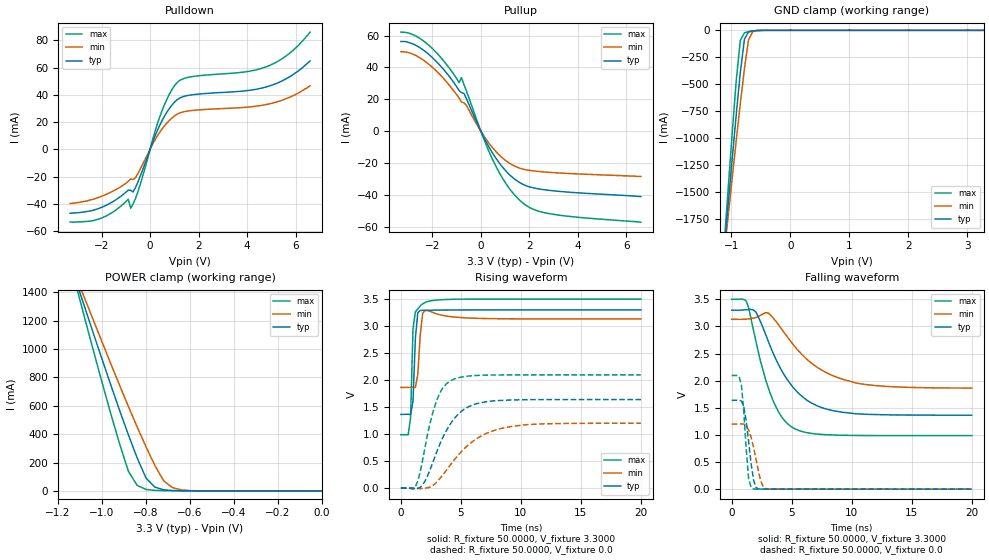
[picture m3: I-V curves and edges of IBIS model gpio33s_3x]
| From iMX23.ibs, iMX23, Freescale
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|   Model gpio33s_3x
[Model]  gpio33s_3x
Model_type I/O
Polarity   Non-Inverting
Enable   Active-Low
Vinl =   0.8000V
Vinh =   2.0000V
Vmeas =  1.6500V
Cref =   30.0000pF
Rref =   50.0000
Vref =   1.6500V
C_comp   3.0000pF   2.0000pF   4.0000pF
[Temperature Range]   50.0000   100.0000   0.0
[Voltage Range]   3.3000V   3.0000V   3.6000V
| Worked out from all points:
|   slope of the pulldown table from 0 to 0.495 V, typ, clamps not added: 23.5 ohm
|   slope of the pullup table from 0 to 0.495 V, typ, clamps not added: 35.3 ohm
|   GND clamp passes 1 mA (typ) near -0.53 V on its own axis
|   POWER clamp passes 1 mA (typ) near -0.63 V on its own axis
|   rising waveform, R_fixture 50.0000, V_fixture 3.3000: 20-80 % time 232ps typ, 222ps min, 213ps max; typ from 1.36 V to 3.3 V
|   rising waveform, R_fixture 50.0000, V_fixture 0.0: 20-80 % time 2.14ns typ, 3.19ns min, 1.37ns max; typ from 0 V to 1.64 V
|   falling waveform, R_fixture 50.0000, V_fixture 3.3000: 20-80 % time 2.94ns typ, 3.78ns min, 2ns max; typ from 3.3 V to 1.36 V
|   falling waveform, R_fixture 50.0000, V_fixture 0.0: 20-80 % time 546ps typ, 713ps min, 419ps max; typ from 1.64 V to 0 V
[Pulldown]
|Voltage   I(typ)   I(min)   I(max)
-3.3V     -46.9mA    -39.8mA    -53.4mA
-2V       -42.61mA   -34.49mA   -50.45mA
-900mV    -29.92mA   -23.5mA    -36.62mA
-800mV    -30.07mA   -21.7mA    -43.24mA
-700mV    -31.3mA    -22.2mA    -40.08mA
-600mV    -28.01mA   -20.92mA   -36.04mA
500mV     21.26mA    15.11mA    28.62mA
900mV     32.44mA    22.96mA    43.79mA
1.2V      37.44mA    26.52mA    50.31mA
4.8V      45.86mA    32.93mA    60.69mA
5.7V      52.68mA    37.83mA    69.77mA
6.6V      64.9mA     46.7mA     86.1mA
[Pullup]
|Voltage   I(typ)   I(min)   I(max)
-3.3V     56.3mA     49.9mA     62.2mA
-2.8V     54.74mA    48.34mA    60.6mA
-2.2V     48.9mA     42.68mA    54.62mA
-1.5V     38.07mA    32.46mA    43.47mA
-900mV    25.52mA    20.86mA    30.48mA
-800mV    24.2mA     18.28mA    33.63mA
-700mV    23.76mA    17.87mA    29.39mA
500mV     -14.14mA   -10.7mA    -18.3mA
1.1V      -26.08mA   -19.28mA   -34.38mA
1.7V      -33.08mA   -23.66mA   -44.66mA
2.9V      -37.27mA   -25.9mA    -51.94mA
6.6V      -41mA      -28.4mA    -57.1mA
[GND_clamp]
|Voltage   I(typ)   I(min)   I(max)
-3.3V     -16.05A    -13.81A    -19.4A
-1.13V    -2.072A    -2.112A    -2.035A
-1.06V    -1.636A    -1.745A    -1.497A
-990mV    -1.206A    -1.382A    -971.1mA
-920mV    -786.7mA   -1.025A    -470.7mA
-850mV    -390.5mA   -679.5mA   -92.21mA
-780mV    -81.38mA   -354.3mA   -23.04mA
-710mV    -14.58mA   -85.27mA   -12.47mA
-640mV    -4.818mA   -12.73mA   -6.689mA
-570mV    -1.703mA   -2.139mA   -2.771mA
3.28V     -344.8nA   4.18uA     -6.865uA
[POWER_clamp]
|Voltage   I(typ)   I(min)   I(max)
-3.28V    12.03A     10.28A     14.68A
-1.12V    1.489A     1.518A     1.459A
-1.08V    1.3A       1.361A     1.225A
-920mV    566.8mA    743.5mA    330.2mA
-880mV    394mA      594.3mA    137.8mA
-840mV    230.9mA    449.2mA    38.56mA
-800mV    90.47mA    310.1mA    10.5mA
-760mV    26.97mA    179.7mA    3.981mA
-720mV    7.883mA    71.6mA     2.263mA
-680mV    2.674mA    23.37mA    1.532mA
-560mV    297.8uA    770.1uA    384.8uA
0V        566.7pA    1.536nA    254.7pA
[Ramp]
| variable   typ   min   max
dV/dt_r  0.9832/2.1124n   0.7203/3.1508n   1.2576/1.3577n
dV/dt_f  1.1616/2.9058n   0.8456/3.8503n   1.4803/2.1093n
R_load = 50.0000
[Rising Waveform]
R_fixture= 50.0000
V_fixture= 3.3000
|time   V(typ)   V(min)   V(max)
0s        1.364V     1.863V     987.5mV
610ps     1.367V     1.865V     986.4mV
810ps     1.361V     1.866V     1.302V
1.01ns    1.605V     1.864V     2.939V
1.21ns    2.779V     1.863V     3.265V
1.41ns    3.246V     2.106V     3.316V
1.62ns    3.29V      2.849V     3.375V
1.82ns    3.293V     3.24V      3.412V
2.02ns    3.293V     3.29V      3.439V
20ns      3.3V       3.132V     3.501V
[Rising Waveform]
R_fixture= 50.0000
V_fixture= 0.0
|time   V(typ)   V(min)   V(max)
0s        0V         0V         0V
1.21ns    -19.36mV   -581.2uV   21.07mV
1.62ns    12.24mV    -13.74mV   305.9mV
2.02ns    131.9mV    -2.758mV   761.7mV
2.83ns    574.1mV    72.96mV    1.52V
3.43ns    907.1mV    225.6mV    1.833V
4.24ns    1.225V     461.6mV    1.998V
5.86ns    1.527V     840.6mV    2.079V
8.48ns    1.625V     1.109V     2.095V
20ns      1.639V     1.2V       2.096V
[Falling Waveform]
R_fixture= 50.0000
V_fixture= 3.3000
|time   V(typ)   V(min)   V(max)
0s        3.3V       3.132V     3.501V
1.21ns    3.309V     3.135V     3.472V
2.02ns    3.265V     3.166V     2.724V
2.83ns    2.852V     3.254V     2.018V
3.43ns    2.519V     3.162V     1.641V
4.24ns    2.157V     2.927V     1.308V
5.25ns    1.843V     2.632V     1.115V
7.27ns    1.523V     2.226V     1.014V
10.3ns    1.392V     1.96V      990.5mV
20ns      1.364V     1.864V     987.5mV
[Falling Waveform]
R_fixture= 50.0000
V_fixture= 0.0
|time   V(typ)   V(min)   V(max)
0s        1.639V     1.201V     2.096V
610ps     1.641V     1.202V     2.083V
810ps     1.624V     1.203V     1.918V
1.01ns    1.516V     1.201V     1.428V
1.41ns    881.2mV    1.092V     196.7mV
1.82ns    169.6mV    771.6mV    2.02mV
2.02ns    32.49mV    562.4mV    2.398mV
2.42ns    2.604mV    150.5mV    1.19mV
2.83ns    1.402mV    9.861mV    1.028mV
20ns      3.24uV     5.925uV    1.844uV
